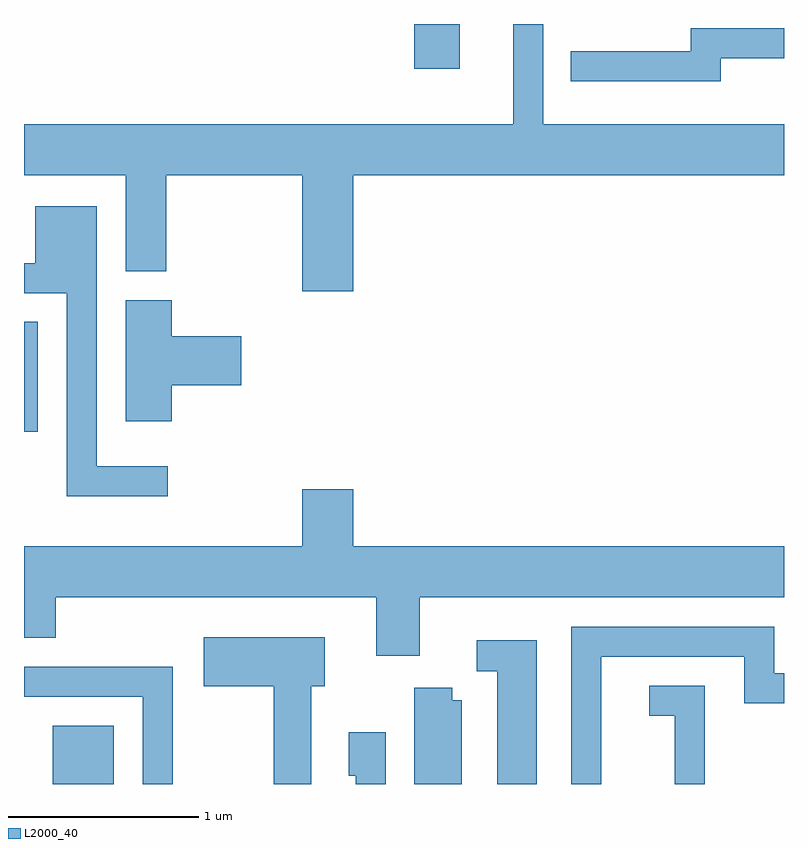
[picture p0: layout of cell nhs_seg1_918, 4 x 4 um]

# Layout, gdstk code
import gdstk
lib = gdstk.Library(unit=1e-6, precision=1e-09)
def R(c, l, rs):  # rectangles x0, y0, x1, y1
    for r in rs: c.add(gdstk.rectangle(r[:2], r[2:], *l))
def P(c, l, *ps):  # polygons
    for p in ps: c.add(gdstk.Polygon(p, *l))
L2000_40 = (2000, 40)

nhs_seg1_918 = lib.new_cell('nhs_seg1_918')
R(nhs_seg1_918, L2000_40, [(213.761,889.712,214.084,890.019), (213.611,891.566,213.684,892.144), (215.666,893.476,215.904,893.712)])
P(nhs_seg1_918, L2000_40, [(215.344,892.916),(217.611,892.916),(217.611,893.184),(216.344,893.184),(216.344,893.712),(216.186,893.712),(216.186,893.184),(213.611,893.184),(213.611,892.916),(214.146,892.916),(214.146,892.411),(214.359,892.411),(214.359,892.916),(215.076,892.916),(215.076,892.306),(215.344,892.306)],
  [(217.279,893.531),(217.611,893.531),(217.611,893.689),(217.121,893.689),(217.121,893.569),(216.488,893.569),(216.488,893.411),(217.279,893.411)],
  [(214.368,891.384),(213.994,891.384),(213.994,892.754),(213.671,892.754),(213.671,892.454),(213.611,892.454),(213.611,892.296),(213.836,892.296),(213.836,891.226),(214.368,891.226)],
  [(214.389,891.811),(214.754,891.811),(214.754,892.069),(214.389,892.069),(214.389,892.259),(214.146,892.259),(214.146,891.621),(214.389,891.621)],
  [(215.694,890.696),(217.611,890.696),(217.611,890.964),(215.344,890.964),(215.344,891.264),(215.076,891.264),(215.076,890.964),(213.611,890.964),(213.611,890.481),(213.779,890.481),(213.779,890.696),(215.466,890.696),(215.466,890.386),(215.694,890.386)],
  [(216.649,890.381),(217.401,890.381),(217.401,890.136),(217.611,890.136),(217.611,890.294),(217.559,890.294),(217.559,890.539),(216.491,890.539),(216.491,889.712),(216.649,889.712)],
  [(215.124,890.226),(215.194,890.226),(215.194,890.484),(214.556,890.484),(214.556,890.226),(214.926,890.226),(214.926,889.712),(215.124,889.712)],
  [(216.309,890.469),(215.993,890.469),(215.993,890.306),(216.101,890.306),(216.101,889.712),(216.309,889.712)],
  [(214.394,890.329),(213.611,890.329),(213.611,890.171),(214.236,890.171),(214.236,889.712),(214.394,889.712)],
  [(217.194,890.229),(216.903,890.229),(216.903,890.071),(217.036,890.071),(217.036,889.712),(217.194,889.712)],
  [(215.914,890.154),(215.864,890.154),(215.864,890.219),(215.666,890.219),(215.666,889.712),(215.914,889.712)],
  [(215.514,889.984),(215.321,889.984),(215.321,889.756),(215.356,889.756),(215.356,889.712),(215.514,889.712)])

lib.write_gds('nhs_seg1_918.gds')
